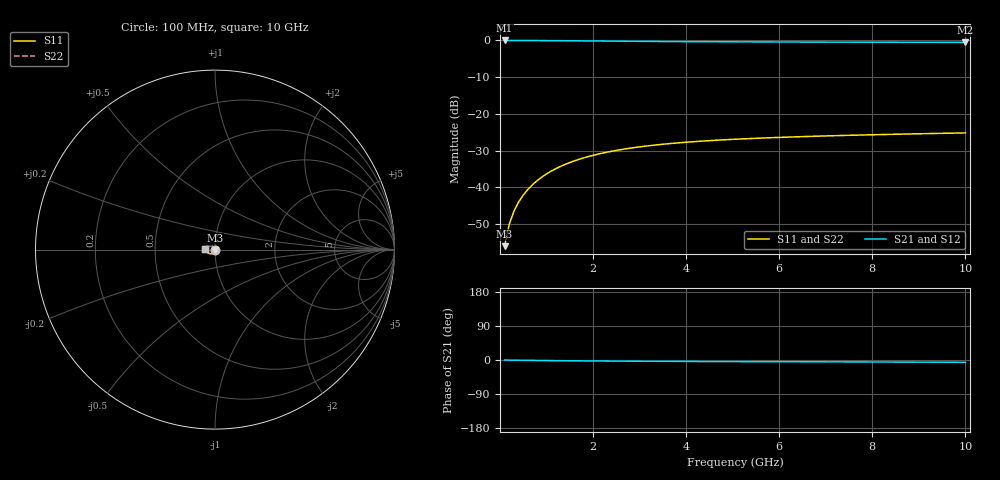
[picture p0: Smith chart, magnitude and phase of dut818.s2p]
! Touchstone file exported from HFSS 2024.1.0
!  File:  C:/UserFiles/LocalFiles/RDL_TSV_Batchsim/temp_TSV1_818_1779877858.aedt
!  Generated:  06:38:39 PM May 27, 2026
!  Design:  TSV1
!  Project:  temp_TSV1_818_1779877858
!  Setup:  Setup1
!  Solution:  Sweep
! Variables:
!  dtsv = 11.64um
!  hbump = 3um
!  htsv = 93.2um
!  lrdl = 252.1521522um
!  p = 40
!  p1 = 58.22um
!  t = 500um
!  trdl = 3um
!  wrdl = 24.89489489um
# GHz S MA R 50.000000
! Terminal data exported
! Port[1] = TSV22_T1
! Port[2] = TSV22_T2
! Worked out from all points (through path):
!   100 points, 100 MHz to 10 GHz, reference 50 ohm
!   highest |S21| = 0.00 dB at 100 MHz (marker M1); lowest = -0.5 dB at 10 GHz (marker M2)
!   lowest |S11| = -56.0 dB at 100 MHz (marker M3), VSWR 1.00, Z = 50 - j0.158 ohm
!   |S11| at or under -10 dB: start of sweep to end of sweep
!   |S22| runs from -56.0 to -25.2 dB; largest |S21 - S12| = 3.3e-15
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0.1  0.001584 -87.8  0.9998 -0.2  0.9998 -0.2  0.001584 -87.8
! Gamma 0 0 0 0
! Port Impedance 50 0 50 0
0.2  0.00316 -91.7  0.9996 -0.3  0.9996 -0.3  0.00316 -91.7
0.3  0.004734 -94.3  0.9994 -0.5  0.9994 -0.5  0.004734 -94.3
0.4  0.0063 -96.6  0.999 -0.6  0.999 -0.6  0.0063 -96.6
0.5  0.007852 -98.8  0.9985 -0.8  0.9985 -0.8  0.007852 -98.8
0.6  0.009385 -100.9  0.9979 -0.9  0.9979 -0.9  0.009385 -100.9
0.7  0.01089 -102.9  0.9972 -1.1  0.9972 -1.1  0.01089 -102.9
0.8  0.01238 -104.9  0.9965 -1.2  0.9965 -1.2  0.01238 -104.9
0.9  0.01383 -106.9  0.9956 -1.3  0.9956 -1.3  0.01383 -106.9
1.1  0.01663 -110.7  0.9938 -1.6  0.9938 -1.6  0.01663 -110.7
1.4  0.02055 -116.1  0.9907 -1.9  0.9907 -1.9  0.02055 -116.1
1.6  0.02296 -119.5  0.9885 -2.2  0.9885 -2.2  0.02296 -119.5
1.8  0.02521 -122.8  0.9862 -2.4  0.9862 -2.4  0.02521 -122.8
2.1  0.02828 -127.4  0.9827 -2.6  0.9827 -2.6  0.02828 -127.4
2.5  0.03186 -133.1  0.9782 -2.9  0.9782 -2.9  0.03186 -133.1
2.9  0.0349 -138.2  0.974 -3.2  0.974 -3.2  0.0349 -138.2
3.4  0.03807 -144.0  0.9692 -3.5  0.9692 -3.5  0.03807 -144.0
4.2  0.04204 -151.9  0.9628 -3.8  0.9628 -3.8  0.04203 -151.9
5.1  0.04535 -159.3  0.9573 -4.2  0.9573 -4.2  0.04535 -159.3
6.7  0.04953 -170.0  0.9504 -4.8  0.9504 -4.8  0.04953 -170.0
8.4  0.05271 -179.0  0.9458 -5.4  0.9458 -5.4  0.05271 -179.0
10  0.05517 173.8  0.9429 -6.0  0.9429 -6.0  0.05517 173.8
